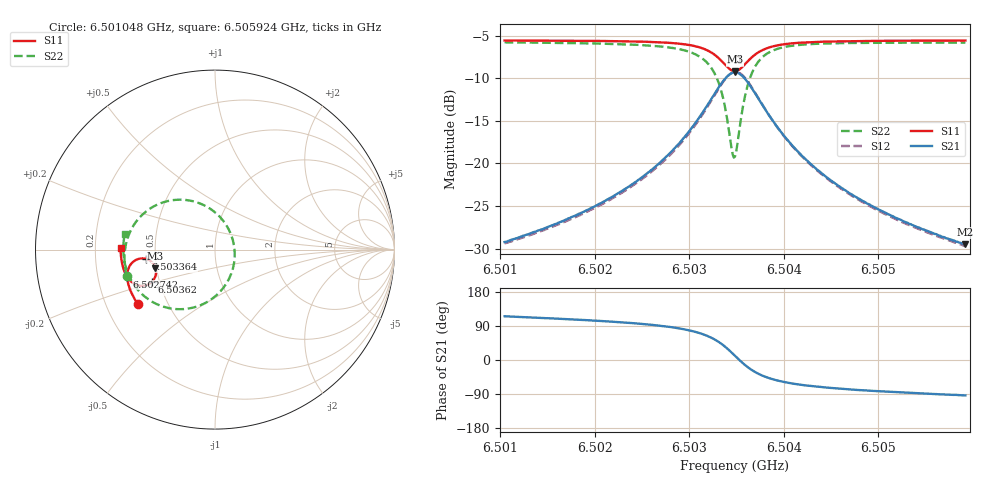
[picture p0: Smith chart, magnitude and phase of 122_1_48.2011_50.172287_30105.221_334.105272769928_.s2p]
#  HZ  S  RI  R  50.00
! Rohde & Schwarz Vector Network Analyzer
! Rohde-Schwarz,ZNB20-2Port,1311601062101988,3.16
! Created: UTC 3/20/2024, 11:41:32 AM
! freq[Hz]  re:S11  im:S11  re:S21  im:S21  re:S12  im:S12  re:S22  im:S22
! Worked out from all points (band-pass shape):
!   401 points, 6.501048 GHz to 6.505924 GHz, reference 50 ohm
!   highest |S21| = -9.32 dB at 6.503486 GHz (marker M1); lowest = -29.5 dB at 6.505924 GHz (marker M2)
!   |S21| within 3 dB of the highest: 6.503241 GHz to 6.503729 GHz (487.9 kHz wide, 0.0075 % of centre)
!   lowest |S11| = -9.2 dB at 6.503486 GHz (marker M3), VSWR 2.06, Z = 24.7 - j5.8 ohm
!   |S11| at or under -10 dB: nowhere
!   |S22| runs from -19.3 to -5.8 dB; largest |S21 - S12| = 0.012
!   S11 on the Smith chart (normalised r, x): 6.501048 GHz: 0.34, -0.28; 6.502742 GHz: 0.33, -0.13; 6.503364 GHz: 0.44, -0.05; 6.50362 GHz: 0.45, -0.19; 6.505924 GHz: 0.31, +0.01
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6.5010479e9  -0.4308 -0.3028  -0.0148 0.0313  -0.0131 0.0314  -0.4927 -0.1444
6.5018646e9  -0.4652 -0.2414  -0.0139 0.0497  -0.0115 0.0491  -0.5043 -0.0556
6.50234e9  -0.4814 -0.1983  -0.0106 0.071  -0.00733 0.0698  -0.4993 0.0146
6.5026813e9  -0.4888 -0.1594  -0.00142 0.0999  0.00241 0.0975  -0.4787 0.0863
6.5027422e9  -0.4892 -0.151  0.00194 0.1073  0.00566 0.1045  -0.4715 0.1027
6.5029616e9  -0.4855 -0.1159  0.0243 0.143  0.0281 0.1385  -0.4248 0.1737
6.5031201e9  -0.4705 -0.0836  0.0643 0.1792  0.0671 0.1733  -0.3468 0.2376
6.5032664e9  -0.4323 -0.0541  0.147 0.208  0.1478 0.2015  -0.1959 0.2782
6.5033151e9  -0.4108 -0.0493  0.1901 0.2063  0.1901 0.2005  -0.1204 0.2691
6.5033639e9  -0.3854 -0.0514  0.2393 0.1908  0.2395 0.1859  -0.0361 0.2337
6.5034492e9  -0.3423 -0.0811  0.3179 0.1149  0.3204 0.1104  0.0893 0.0841
6.5034858e9  -0.3315 -0.1034  0.3355 0.0656  0.3391 0.0599  0.1095 -0.00856
6.5035102e9  -0.3287 -0.1199  0.3387 0.0307  0.3424 0.0237  0.1066 -0.0726
6.5035467e9  -0.3308 -0.144  0.331 -0.0198  0.3345 -0.0289  0.0785 -0.1619
6.5036199e9  -0.3534 -0.1813  0.2838 -0.0964  0.2836 -0.108  -0.0332 -0.2855
6.5037296e9  -0.3993 -0.2014  0.1961 -0.1417  0.1906 -0.1516  -0.2111 -0.3318
6.503888e9  -0.4467 -0.1919  0.1116 -0.1377  0.1042 -0.1429  -0.3632 -0.2824
6.5040587e9  -0.4745 -0.1707  0.0657 -0.1165  0.0592 -0.1188  -0.4374 -0.2153
6.5043025e9  -0.4957 -0.1408  0.0348 -0.0911  0.0299 -0.0915  -0.4816 -0.1412
6.5046925e9  -0.512 -0.0994  0.0145 -0.0656  0.0113 -0.0654  -0.5051 -0.061
6.5051191e9  -0.5208 -0.0597  0.00522 -0.0498  0.00284 -0.0491  -0.5108 0.00056
6.5059236e9  -0.5261 0.00897  -0.00197 -0.0335  -0.00334 -0.0325  -0.5033 0.0878
